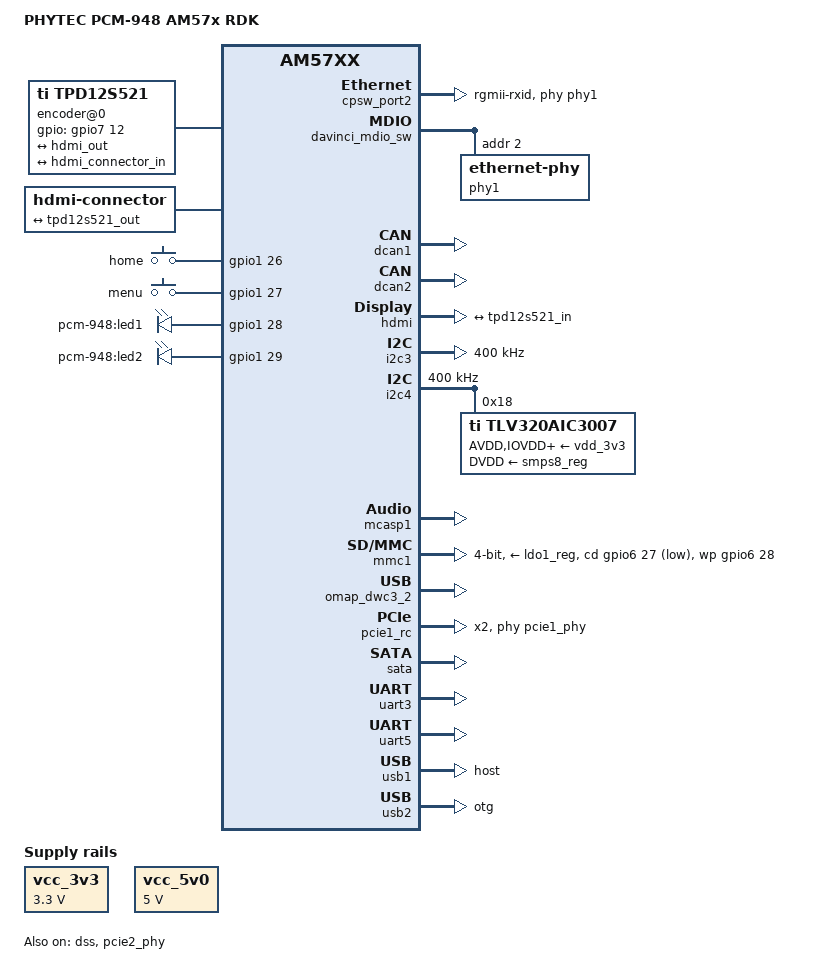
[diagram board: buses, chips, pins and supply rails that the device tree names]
// SPDX-License-Identifier: GPL-2.0
/*
 * Copyright (C) 2015 PHYTEC America, LLC. - https://www.phytec.com
 * Author: Russell Robinson <rrobinson@phytec.com>
 *
 * Copyright (C) 2023 PHYTEC Messtechnik GmbH
 * Author: Primoz Fiser <primoz.fiser@norik.com>
 *
 * Product homepage:
 * https://www.phytec.com/product/phycore-am57x-development-kit/
 */

#include <dt-bindings/input/input.h>

/ {
	model = "PHYTEC PCM-948 AM57x RDK";
	compatible = "phytec,am57xx-pcm-948", "phytec,am57xx-phycore-som", "ti,dra7";

	aliases {
		display0 = &hdmi0;
		mmc0 = &mmc1;
		sound0 = &sound0;
		sound1 = &hdmi;
	};

	chosen {
		stdout-path = &uart3;
	};

	encoder@0 {
		compatible = "ti,tpd12s521", "ti,tpd12s015";
		/* CT_CP_HPD (optional), LS_OE (optional), HPD */
		gpios = <0>, <0>, <&gpio7 12 GPIO_ACTIVE_HIGH>;

		ports {
			#address-cells = <1>;
			#size-cells = <0>;

			port@0 {
				reg = <0>;
				tpd12s521_in: endpoint@0 {
					remote-endpoint = <&hdmi_out>;
				};
			};

			port@1 {
				reg = <1>;
				tpd12s521_out: endpoint@0 {
					remote-endpoint = <&hdmi_connector_in>;
				};
			};
		};
	};

	hdmi0: connector@0 {
		compatible = "hdmi-connector";
		label = "hdmi";
		type = "a";

		port {
			hdmi_connector_in: endpoint {
				remote-endpoint = <&tpd12s521_out>;
			};
		};
	};

	keys {
		compatible = "gpio-keys";
		autorepeat;
		pinctrl-names = "default";
		pinctrl-0 = <&gpio_keys_pins_default>;

		key-home {
			label = "home";
			linux,code = <KEY_HOME>;
			gpios = <&gpio1 26 GPIO_ACTIVE_HIGH>;
		};

		key-menu {
			label = "menu";
			linux,code = <KEY_MENU>;
			gpios = <&gpio1 27 GPIO_ACTIVE_HIGH>;
		};
	};

	leds {
		compatible = "gpio-leds";
		pinctrl-names = "default";
		pinctrl-0 = <&leds_som_pins_default &leds_cb_pins_default>;
		pinctrl-1 = <&leds_som_pins_sleep &leds_cb_pins_sleep>;

		led-1 {
			label = "pcm-948:led1";
			gpios = <&gpio1 28 GPIO_ACTIVE_HIGH>;
			linux,default-trigger = "mmc1";
		};

		led-2 {
			label = "pcm-948:led2";
			gpios = <&gpio1 29 GPIO_ACTIVE_HIGH>;
			linux,default-trigger = "mmc0";
		};
	};

	sound0: sound {
		compatible = "simple-audio-card";
		simple-audio-card,name = "pcm-948";
		simple-audio-card,widgets =
			"Line", "Line Out",
			"Line", "Line In",
			"Microphone", "Mic Jack",
			"Headphone", "HP Jack";
		simple-audio-card,routing =
			/* Line Out */
			"Line Out",	"LLOUT",
			"Line Out",	"RLOUT",
			/* Line In */
			"LINE1R",	"Line In",
			"LINE1R",	"Line In",
			/* Mic */
			"MIC3L",	"Mic Jack",
			"MIC3R",	"Mic Jack",
			"Mic Jack",	"Mic Bias",
			/* HP Jack */
			"HP Jack",	"HPLOUT",
			"HP Jack",	"HPROUT";
		simple-audio-card,format = "dsp_b";
		simple-audio-card,bitclock-master = <&sound0_master>;
		simple-audio-card,frame-master = <&sound0_master>;
		simple-audio-card,bitclock-inversion;

		simple-audio-card,cpu {
			sound-dai = <&mcasp1>;
		};

		sound0_master: simple-audio-card,codec {
			sound-dai = <&tlv320aic3007>;
			clocks = <&clkout2_clk>;
		};
	};

	vcc_3v3: regulator-vcc-3v3 {
		compatible = "regulator-fixed";
		regulator-name = "VCC_3V3";
		regulator-min-microvolt = <3300000>;
		regulator-max-microvolt = <3300000>;
		regulator-always-on;
		regulator-boot-on;
	};

	vcc_5v0: regulator-vcc-5v0 {
		compatible = "regulator-fixed";
		regulator-name = "VCC_5V0";
		regulator-min-microvolt = <5000000>;
		regulator-max-microvolt = <5000000>;
		regulator-always-on;
		regulator-boot-on;
	};
};

&dra7_pmx_core {
	clkout2_pins_default: clkout2_pins_default {
		pinctrl-single,pins = <
			DRA7XX_CORE_IOPAD(0x3694, PIN_INPUT_PULLDOWN | MUX_MODE9)	/* (D18) xref_clk0.clkout2 */
		>;
	};

	clkout2_pins_sleep: clkout2_pins_sleep {
		pinctrl-single,pins = <
			DRA7XX_CORE_IOPAD(0x3694, PIN_INPUT | MUX_MODE15)
		>;
	};

	dcan1_pins: dcan1_pins {
		pinctrl-single,pins = <
			DRA7XX_CORE_IOPAD(0x37d0, PIN_OUTPUT_PULLUP | MUX_MODE0)	/* (G20) dcan1_tx */
			DRA7XX_CORE_IOPAD(0x37d4, PIN_INPUT_PULLUP | MUX_MODE0)		/* (G19) dcan1_rx */
		>;
	};

	dcan2_pins: dcan2_pins {
		pinctrl-single,pins = <
			DRA7XX_CORE_IOPAD(0x3688, PIN_OUTPUT_PULLUP | MUX_MODE2)	/* (E21) gpio6_14.dcan2_tx */
			DRA7XX_CORE_IOPAD(0x368c, PIN_INPUT_PULLUP | MUX_MODE2)		/* (F20) gpio6_15.dcan2_rx */
		>;
	};

	emac1_pins_default: emac1_pins_default {
		pinctrl-single,pins = <
			/* Slave 2 */
			DRA7XX_CORE_IOPAD(0x3598, PIN_OUTPUT | MUX_MODE3)	/* (D5) vin2a_d12.rgmii1_txc */
			DRA7XX_CORE_IOPAD(0x359c, PIN_OUTPUT | MUX_MODE3)	/* (C2) vin2a_d13.rgmii1_txct*/
			DRA7XX_CORE_IOPAD(0x35a0, PIN_OUTPUT | MUX_MODE3)	/* (C3) vin2a_d14.rgmii1_txd3*/
			DRA7XX_CORE_IOPAD(0x35a4, PIN_OUTPUT | MUX_MODE3)	/* (C4) vin2a_d15.rgmii1_txd2*/
			DRA7XX_CORE_IOPAD(0x35a8, PIN_OUTPUT | MUX_MODE3)	/* (B2) vin2a_d16.rgmii1_txd1*/
			DRA7XX_CORE_IOPAD(0x35ac, PIN_OUTPUT | MUX_MODE3)	/* (D6) vin2a_d17.rgmii1_txd0*/
			DRA7XX_CORE_IOPAD(0x35b0, PIN_INPUT | MUX_MODE3)	/* (C5) vin2a_d18.rgmii1_rxc */
			DRA7XX_CORE_IOPAD(0x35b4, PIN_INPUT | MUX_MODE3)	/* (A3) vin2a_d19.rgmii1_rxct*/
			DRA7XX_CORE_IOPAD(0x35b8, PIN_INPUT | MUX_MODE3)	/* (B3) vin2a_d20.rgmii1_rxd3*/
			DRA7XX_CORE_IOPAD(0x35bc, PIN_INPUT | MUX_MODE3)	/* (B4) vin2a_d21.rgmii1_rxd2*/
			DRA7XX_CORE_IOPAD(0x35c0, PIN_INPUT | MUX_MODE3)	/* (B5) vin2a_d22.rgmii1_rxd1*/
			DRA7XX_CORE_IOPAD(0x35c4, PIN_INPUT | MUX_MODE3)	/* (A4) vin2a_d23.rgmii1_rxd0*/
		>;

	};

	emac1_pins_sleep: emac1_pins_sleep {
		pinctrl-single,pins = <
			/* Slave 2 */
			DRA7XX_CORE_IOPAD(0x3598, PIN_INPUT | MUX_MODE15)
			DRA7XX_CORE_IOPAD(0x359c, PIN_INPUT | MUX_MODE15)
			DRA7XX_CORE_IOPAD(0x35a0, PIN_INPUT | MUX_MODE15)
			DRA7XX_CORE_IOPAD(0x35a4, PIN_INPUT | MUX_MODE15)
			DRA7XX_CORE_IOPAD(0x35a8, PIN_INPUT | MUX_MODE15)
			DRA7XX_CORE_IOPAD(0x35ac, PIN_INPUT | MUX_MODE15)
			DRA7XX_CORE_IOPAD(0x35b0, PIN_INPUT | MUX_MODE15)
			DRA7XX_CORE_IOPAD(0x35b4, PIN_INPUT | MUX_MODE15)
			DRA7XX_CORE_IOPAD(0x35b8, PIN_INPUT | MUX_MODE15)
			DRA7XX_CORE_IOPAD(0x35bc, PIN_INPUT | MUX_MODE15)
			DRA7XX_CORE_IOPAD(0x35c0, PIN_INPUT | MUX_MODE15)
			DRA7XX_CORE_IOPAD(0x35c4, PIN_INPUT | MUX_MODE15)
		>;
	};

	extcon_pins_default:  extcon_pins_default {
		pinctrl-single,pins = <
			DRA7XX_CORE_IOPAD(0x35d0, PIN_INPUT_PULLDOWN | MUX_MODE14)	/* (B11) vout1_fld.gpio4_21 */
			DRA7XX_CORE_IOPAD(0x35f4, PIN_INPUT | MUX_MODE14)		/* (F8) vout1_d6.gpio8_6 */
		>;
	};

	gpio_keys_pins_default: gpio_keys_pins_default {
		pinctrl-single,pins = <
			DRA7XX_CORE_IOPAD(0x3450, PIN_INPUT | MUX_MODE14)  /* (P6) gpmc_a4.gpio1_26 */
			DRA7XX_CORE_IOPAD(0x3454, PIN_INPUT | MUX_MODE14)  /* (R9) gpmc_a5.gpio1_27 */
		>;
	};

	hdmi_pins: pinmux_hdmi_pins {
		pinctrl-single,pins = <
			DRA7XX_CORE_IOPAD(0x37b8, PIN_INPUT_PULLDOWN | MUX_MODE14)	/* (B21) spi1_cs2.gpio7_12 */
			DRA7XX_CORE_IOPAD(0x37bc, PIN_INPUT_SLEW | MUX_MODE6)		/* (B20) spi1_cs3.hdmi1_cec */
		>;
	};

	i2c2_hdmi_pins: pinmux_i2c2_hdmi_pins {
		pinctrl-single,pins = <
			DRA7XX_CORE_IOPAD(0x3808, PIN_INPUT | MUX_MODE1)	/* (C25) i2c2_sda.hdmi1_ddc_scl */
			DRA7XX_CORE_IOPAD(0x380c, PIN_INPUT | MUX_MODE1)	/* (F17) i2c2_scl.hdmi1_ddc_sda */
		>;
	};

	i2c3_pins_default: pinmux_i2c3_default {
		pinctrl-single,pins = <
			DRA7XX_CORE_IOPAD(0x3774, PIN_INPUT_PULLUP | MUX_MODE2)	/* (AC5) gpio6_10.i2c3_sda */
			DRA7XX_CORE_IOPAD(0x3778, PIN_INPUT_PULLUP | MUX_MODE2)	/* (AB4) gpio6_11.i2c3_scl */
		>;
	};

	i2c3_pins_sleep: pinmux_i2c3_sleep {
		pinctrl-single,pins = <
			DRA7XX_CORE_IOPAD(0x3774, PIN_INPUT | MUX_MODE15)
			DRA7XX_CORE_IOPAD(0x3778, PIN_INPUT | MUX_MODE15)
		>;
	};

	i2c4_pins_default: i2c4_pins_default {
		pinctrl-single,pins = <
			DRA7XX_CORE_IOPAD(0x3440, PIN_INPUT_PULLUP | MUX_MODE7)	/* (R6) gpmc_a0.i2c4_scl */
			DRA7XX_CORE_IOPAD(0x3444, PIN_INPUT_PULLUP | MUX_MODE7)	/* (T9) gpmc_a1.i2c4_sda */
		>;
	};

	i2c4_pins_sleep: i2c4_pins_sleep {
		pinctrl-single,pins = <
			DRA7XX_CORE_IOPAD(0x3440, PIN_INPUT | MUX_MODE15)
			DRA7XX_CORE_IOPAD(0x3444, PIN_INPUT | MUX_MODE15)
		>;
	};

	leds_cb_pins_default: leds_cb_pins_default {
		pinctrl-single,pins = <
			DRA7XX_CORE_IOPAD(0x3458, PIN_OUTPUT | MUX_MODE14)	/* (R5) gpmc_a6.gpio1_28 */
			DRA7XX_CORE_IOPAD(0x345c, PIN_OUTPUT | MUX_MODE14)	/* (P5) gpmc_a7.gpio1_29 */
		>;
	};

	leds_cb_pins_sleep: leds_cb_pins_sleep {
		pinctrl-single,pins = <
			DRA7XX_CORE_IOPAD(0x3458, PIN_INPUT_PULLDOWN | MUX_MODE15)
			DRA7XX_CORE_IOPAD(0x345c, PIN_INPUT_PULLDOWN | MUX_MODE15)
		>;
	};

	mcasp1_pins_default: mcasp1_pins_default {
		pinctrl-single,pins = <
			DRA7XX_CORE_IOPAD(0x36a4, PIN_INPUT_PULLDOWN | MUX_MODE0)	/* (C14) mcasp1_aclkx */
			DRA7XX_CORE_IOPAD(0x36a8, PIN_INPUT_PULLDOWN | MUX_MODE0)	/* (D14) mcasp1_fsx */
			DRA7XX_CORE_IOPAD(0x36ec, PIN_OUTPUT_PULLDOWN | MUX_MODE0)	/* (G14) mcasp1_axr14 */
			DRA7XX_CORE_IOPAD(0x36f0, PIN_INPUT_PULLDOWN | MUX_MODE0)	/* (F14) mcasp1_axr15 */
		>;
	};

	mcasp1_pins_sleep: mcasp1_pins_sleep {
		pinctrl-single,pins = <
			DRA7XX_CORE_IOPAD(0x36a4, PIN_INPUT | MUX_MODE15)
			DRA7XX_CORE_IOPAD(0x36a8, PIN_INPUT | MUX_MODE15)
			DRA7XX_CORE_IOPAD(0x36ec, PIN_INPUT | MUX_MODE15)
			DRA7XX_CORE_IOPAD(0x36f0, PIN_INPUT | MUX_MODE15)
		>;
	};

	mmc1_cd_wp_pins: mmc1_cd_wp_pins {
		pinctrl-single,pins = <
			DRA7XX_CORE_IOPAD(0x376c, PIN_INPUT | MUX_MODE14)	/* (W7) mmc1_sdcd.gpio6_27 */
			DRA7XX_CORE_IOPAD(0x3770, PIN_INPUT | MUX_MODE14)	/* (Y9) mmc1_sdwp.gpio6_28 */
		>;
	};

	mmc1_pins_sleep: mmc1_pins_sleep {
		pinctrl-single,pins = <
			DRA7XX_CORE_IOPAD(0x3754, PIN_INPUT | MUX_MODE15)
			DRA7XX_CORE_IOPAD(0x3758, PIN_INPUT | MUX_MODE15)
			DRA7XX_CORE_IOPAD(0x375c, PIN_INPUT | MUX_MODE15)
			DRA7XX_CORE_IOPAD(0x3760, PIN_INPUT | MUX_MODE15)
			DRA7XX_CORE_IOPAD(0x3764, PIN_INPUT | MUX_MODE15)
			DRA7XX_CORE_IOPAD(0x3768, PIN_INPUT | MUX_MODE15)
			DRA7XX_CORE_IOPAD(0x376c, PIN_INPUT | MUX_MODE15)
			DRA7XX_CORE_IOPAD(0x3770, PIN_INPUT | MUX_MODE15)
		>;
	};

	pcie1_pins: pcie1_pins {
		pinctrl-single,pins = <
			DRA7XX_CORE_IOPAD(0x35e8, PIN_INPUT | MUX_MODE14)		/* (G11) vout1_d3.gpio8_3 */
			DRA7XX_CORE_IOPAD(0x35ec, PIN_OUTPUT_PULLDOWN | MUX_MODE14)	/* (E9) vout1_d4.gpio8_4 */
			DRA7XX_CORE_IOPAD(0x35f0, PIN_INPUT | MUX_MODE14)		/* (F9) vout1_d5.gpio8_5 */
			DRA7XX_CORE_IOPAD(0x35f8, PIN_OUTPUT | MUX_MODE14)		/* (E7) vout1_d7.gpio8_7 */
		>;
	};

	stmpe_ts_irq_pin: stmpe_ts_irq_pin {
		pinctrl-single,pins = <
			DRA7XX_CORE_IOPAD(0x36e8, PIN_INPUT | MUX_MODE14)	/* (A13) mcasp1_axr13.gpio6_4 */
		>;
	};

	uart3_pins_default: uart3_pins_default {
		pinctrl-single,pins = <
			DRA7XX_CORE_IOPAD(0x3648, PIN_INPUT_SLEW | MUX_MODE0)	/* (V2) uart3_rxd */
			DRA7XX_CORE_IOPAD(0x364c, PIN_INPUT_SLEW | MUX_MODE0)	/* (Y1) uart3_txd */
		>;
	};

	uart5_pins_default: uart5_pins_default {
		pinctrl-single,pins = <
			DRA7XX_CORE_IOPAD(0x35dc, PIN_INPUT_SLEW | MUX_MODE2)	/* (F11) vout1_d0.uart5_rxd */
			DRA7XX_CORE_IOPAD(0x35e0, PIN_INPUT_SLEW | MUX_MODE2)	/* (G10) vout1_d1.uart5_txd */
		>;
	};

	uart5_pins_sleep: uart5_pins_sleep {
		pinctrl-single,pins = <
			DRA7XX_CORE_IOPAD(0x35dc, PIN_INPUT | MUX_MODE15)
			DRA7XX_CORE_IOPAD(0x35e0, PIN_INPUT | MUX_MODE15)
		>;
	};

	usb1_pins: pinmux_usb1_pins {
		pinctrl-single,pins = <
			DRA7XX_CORE_IOPAD(0x3680, PIN_INPUT_SLEW | MUX_MODE0)	/* (AB10) usb1_drvvbus */
			DRA7XX_CORE_IOPAD(0x362c, PIN_INPUT | MUX_MODE14)	/* (C9) vout1_d20.gpio8_20 */
		>;
	};

	usb2_pins_default: pinmux_usb2_pins_default {
		pinctrl-single,pins = <
			DRA7XX_CORE_IOPAD(0x3630, PIN_INPUT | MUX_MODE14)	/* (A9) vout1_d21.gpio8_21 */
			DRA7XX_CORE_IOPAD(0x3684, PIN_INPUT_SLEW | MUX_MODE0)	/* (AC10) usb2_drvvbus */
		>;
	};

	usb2_pins_sleep: pinmux_usb2_pins_sleep {
		pinctrl-single,pins = <
			DRA7XX_CORE_IOPAD(0x3630, PIN_INPUT | MUX_MODE14)
			DRA7XX_CORE_IOPAD(0x3684, PIN_INPUT_SLEW | MUX_MODE15)
		>;
	};
};

&apll_pcie_in_clk_mux {
	assigned-clocks = <&apll_pcie_in_clk_mux>;
	assigned-clock-parents = <&pciesref_acs_clk_ck>;
};

&cpsw_port2 {
	phy-handle = <&phy1>;
	phy-mode = "rgmii-rxid";
	ti,dual-emac-pvid = <2>;
};

&davinci_mdio_sw {
	phy1: ethernet-phy@2 {
		reg = <2>;
		rxc-skew-ps = <1860>;
	};
};

&dcan1 {
	status = "okay";
	pinctrl-names = "default";
	pinctrl-0 = <&dcan1_pins>;
};

&dcan2 {
	status = "okay";
	pinctrl-names = "default";
	pinctrl-0 = <&dcan2_pins>;
};

&dss {
	status = "okay";
	vdda_video-supply = <&ldoln_reg>;
};

&extcon_usb2 {
	pinctrl-names = "default";
	pinctrl-0 = <&extcon_pins_default>;
	id-gpio = <&gpio5 7 GPIO_ACTIVE_HIGH>;
	vbus-gpio = <&gpio7 22 GPIO_ACTIVE_HIGH>;
};

&hdmi {
	status = "okay";
	vdda-supply = <&ldo4_reg>;
	pinctrl-names = "default";
	pinctrl-0 = <&hdmi_pins &i2c2_hdmi_pins>;

	port {
		hdmi_out: endpoint {
			remote-endpoint = <&tpd12s521_in>;
		};
	};
};

&i2c3 {
	status = "okay";
	pinctrl-names = "default", "sleep";
	pinctrl-0 = <&i2c3_pins_default>;
	pinctrl-1 = <&i2c3_pins_sleep>;
	clock-frequency = <400000>;
};

&i2c4 {
	status = "okay";
	pinctrl-names = "default", "sleep";
	pinctrl-0 = <&i2c4_pins_default>;
	pinctrl-1 = <&i2c4_pins_sleep>;
	clock-frequency = <400000>;

	tlv320aic3007: audio-codec@18 {
		#sound-dai-cells = <0>;
		compatible = "ti,tlv320aic3007";
		reg = <0x18>;
		pinctrl-names = "default", "sleep";
		pinctrl-0 = <&clkout2_pins_default>;
		pinctrl-1 = <&clkout2_pins_sleep>;
		ai3x-micbias-vg = <2>;
		adc-settle-ms = <40>;

		AVDD-supply = <&vdd_3v3>;
		IOVDD-supply = <&vdd_3v3>;
		DRVDD-supply = <&vdd_3v3>;
		DVDD-supply = <&smps8_reg>;
	};

	stmpe811: touchscreen@41 {
		status = "disabled";
		compatible = "st,stmpe811";
		pinctrl-names = "default";
		pinctrl-0 = <&stmpe_ts_irq_pin>;
		reg = <0x41>;
		id = <0>;
		blocks = <0x5>;
		irq-gpio = <&gpio6 4 IRQ_TYPE_LEVEL_LOW>;
		wakeup-source;

		stmpe_touchscreen {
			compatible = "st,stmpe-ts";
			st,sample-time = <4>;
			st,mod-12b = <1>;
			st,ref-sel = <0>;
			st,adc-freq = <1>;
			st,ave-ctrl = <1>;
			st,touch-det-delay = <2>;
			st,settling = <2>;
			st,fraction-z = <7>;
			st,i-drive = <1>;
		};
	};
};

&mac_sw {
	slaves = <2>;
	pinctrl-names = "default", "sleep";
	pinctrl-0 = <&emac0_pins_default &emac1_pins_default>;
	pinctrl-1 = <&emac0_pins_sleep &emac1_pins_sleep>;
};

&mcasp1 {
	status = "okay";
	#sound-dai-cells = <0>;
	pinctrl-names = "default", "sleep";
	pinctrl-0 = <&mcasp1_pins_default>;
	pinctrl-1 = <&mcasp1_pins_sleep>;

	op-mode = <0>;  /* MCASP_IIS_MODE */
	tdm-slots = <2>;
	/* mcasp1_axr14 = TX, mcasp1_axr15 = RX */
	serial-dir = <  /* 0: INACTIVE, 1: TX, 2: RX */
		0 0 0 0
		0 0 0 0
		0 0 0 0
		0 0 1 2
	>;
	tx-num-evt = <32>;
	rx-num-evt = <32>;
};

&mmc1 {
	status = "okay";
	pinctrl-names = "default", "sleep", "hs";
	pinctrl-0 = <&mmc1_pins_default &mmc1_cd_wp_pins>;
	pinctrl-1 = <&mmc1_pins_sleep>;
	pinctrl-2 = <&mmc1_pins_hs &mmc1_cd_wp_pins>;
	vmmc-supply = <&ldo1_reg>;
	bus-width = <4>;
	cd-gpios = <&gpio6 27 GPIO_ACTIVE_LOW>; /* gpio 219 */
	wp-gpios = <&gpio6 28 GPIO_ACTIVE_HIGH>;
	max-frequency = <96000000>;
	no-1-8-v;
};

&omap_dwc3_2 {
	status = "okay";
	extcon = <&extcon_usb2>;
};

&pcie1_phy {
	/* use external pcie ref clk */
	syscon-acspcie-tx-rx = <&scm_conf1 0x10 0x2>;
};

&pcie2_phy {
	status = "okay";
	/* use external pcie ref clk */
	syscon-acspcie-tx-rx = <&scm_conf1 0x10 0x2>;
};

&pcie1_rc {
	status = "okay";
	pinctrl-names = "default";
	pinctrl-0 = <&pcie1_pins>;
	pcie-clk-oe-gpio = <&gpio8 7 GPIO_ACTIVE_HIGH>;
	pcie-reset-gpio = <&gpio8 4 GPIO_ACTIVE_LOW>; /* PWRGD (X27-A11) */
	pcie-reset-active-low;

	num-lanes = <2>;
	phys = <&pcie1_phy>, <&pcie2_phy>;
	phy-names = "pcie-phy0", "pcie-phy1";
};

&sata {
	status = "okay";
};

&uart3 {
	status = "okay";
	pinctrl-names = "default";
	pinctrl-0 = <&uart3_pins_default>;

	interrupts-extended = <&crossbar_mpu GIC_SPI 69 IRQ_TYPE_LEVEL_HIGH
			       &dra7_pmx_core 0x248>;
};

&uart5 {
	status = "okay";
	pinctrl-names = "default", "sleep";
	pinctrl-0 = <&uart5_pins_default>;
	pinctrl-1 = <&uart5_pins_sleep>;

	interrupts-extended = <&crossbar_mpu GIC_SPI 100 IRQ_TYPE_LEVEL_HIGH
			       &dra7_pmx_core 0x1dc>;
};

&usb1 {
	status = "okay";
	dr_mode = "host";
	pinctrl-names = "default";
	pinctrl-0 = <&usb1_pins>;
};

&usb2 {
	status = "okay";
	dr_mode = "otg";
	pinctrl-names = "default", "sleep";
	pinctrl-0 = <&usb2_pins_default>;
	pinctrl-1 = <&usb2_pins_sleep>;
};

&usb2_phy1 {
	phy-supply = <&ldousb_reg>;
};

&usb2_phy2 {
	phy-supply = <&ldousb_reg>;
};
